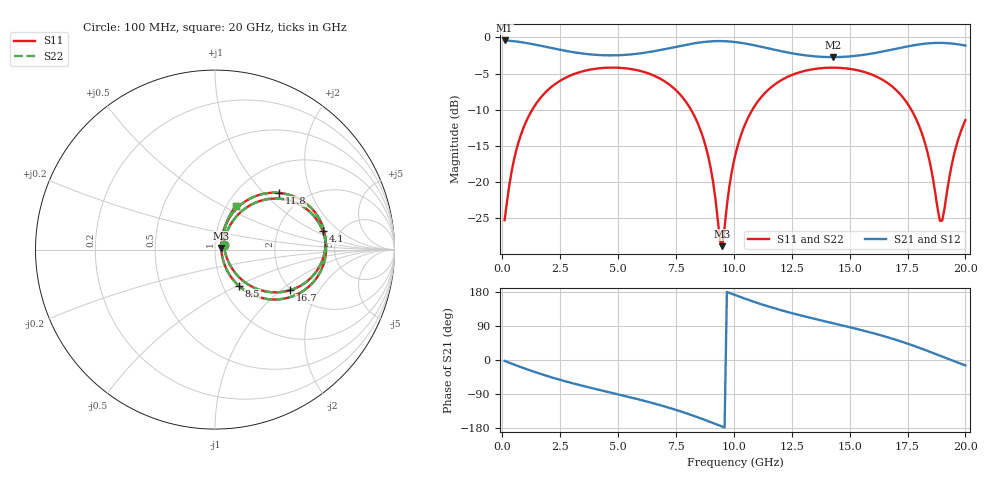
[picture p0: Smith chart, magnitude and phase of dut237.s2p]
! Touchstone file exported from HFSS 2026.1.0
!  File:  C:/ffzhzh/LocalFiles/Ansys_Project_Files/temp_train_TSV_RDL_237_1783065688_36532.aedt
!  Generated:  04:17:35 PM Jul  3, 2026
!  Design:  TSV_RDL
!  Project:  temp_train_TSV_RDL_237_1783065688_36532
! Variables:
!  h_bsmrdl = 4.32um
!  h_ox = 20um
!  h_rdl = 5um
!  h_sub = 97.15um
!  h_tmrdl = 2.05um
!  h_tsv = 97.15um
!  h_via = 3um
!  l_bsmrdl = 704.92um
!  l_sub = 5804.6um
!  l_tmrdl = 800.92um
!  m_sub = 200um
!  pitch = 55.08um
!  r_tsv = 14.41um
!  s_tmrdl = 10um
!  w_bsmrdl = 13.2um
!  w_sub = 500um
!  w_tmrdl = 15.52um
!  x_tsv_center1 = 808.68um
!  x_tsv_center2 = 1526.8um
!  x_tsv_center3 = 2343.24um
!  x_tsv_center4 = 3061.36um
!  x_tsv_center5 = 3877.8um
!  x_tsv_center6 = 4595.92um
# GHz S MA R 50.000000
! Terminal data exported
! Port[1] = TM_RDL1_1_T1
! Port[2] = TM_RDL5_1_T1
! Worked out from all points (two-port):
!   200 points, 100 MHz to 20 GHz, reference 50 ohm
!   highest |S21| = -0.42 dB at 100 MHz (marker M1); lowest = -2.7 dB at 14.3 GHz (marker M2)
!   |S21| within 3 dB of the highest: start of sweep to end of sweep
!   lowest |S11| = -28.8 dB at 9.5 GHz (marker M3), VSWR 1.08, Z = 53.6 + j1.02 ohm
!   |S11| at or under -10 dB: start of sweep to 1.292 GHz; 8.152 GHz to 10.8 GHz (2.648 GHz wide, 27.9 % of centre); 17.67 GHz to end of sweep
!   |S22| runs from -28.8 to -4.2 dB; largest |S21 - S12| = 3.1e-14
!   S11 on the Smith chart (normalised r, x): 100 MHz: 1.10, +0.06; 4.1 GHz: 3.70, +1.21; 8.5 GHz: 1.19, -0.51; 11.8 GHz: 1.51, +1.23; 16.7 GHz: 1.99, -1.16; 20 GHz: 1.11, +0.58
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0.1  0.05468 27.8  0.9524 -2.4  0.9524 -2.4  0.05468 27.8
! Gamma 0 0 0 0
! Port Impedance 50 0 50 0
0.6  0.1655 58.2  0.9372 -14.2  0.9372 -14.2  0.1655 58.2
1.2  0.2978 52.8  0.905 -27.4  0.905 -27.4  0.2978 52.8
3.5  0.5848 18.0  0.7725 -68.6  0.7725 -68.6  0.5848 18.0
4.1  0.6097 9.7  0.7565 -77.6  0.7565 -77.6  0.6096 9.7
5.5  0.6065 -9.4  0.7614 -98.1  0.7614 -98.1  0.6065 -9.4
6.8  0.5209 -28.6  0.8167 -118.8  0.8167 -118.8  0.5208 -28.6
8.5  0.2424 -56.6  0.9208 -152.5  0.9208 -152.5  0.2424 -56.6
9  0.1252 -59.6  0.9386 -163.9  0.9386 -163.9  0.1251 -59.6
9.5  0.03617 15.2  0.9423 -175.6  0.9423 -175.6  0.03613 15.3
9.8  0.09179 63.2  0.9371 177.3  0.9371 177.3  0.09181 63.3
10.1  0.163 66.7  0.9267 170.4  0.9267 170.4  0.1631 66.7
10.8  0.3164 57.9  0.8875 155.0  0.8875 155.0  0.3164 57.9
11.8  0.4774 41.4  0.8187 135.6  0.8187 135.6  0.4775 41.4
13.4  0.6021 17.9  0.7421 109.9  0.7421 109.9  0.6021 17.9
14.3  0.6178 5.8  0.7308 96.8  0.7308 96.8  0.6178 5.8
16.7  0.4764 -28.3  0.8152 59.0  0.8152 59.0  0.4764 -28.4
18.1  0.2224 -48.4  0.8987 30.1  0.8987 30.1  0.2224 -48.5
18.9  0.05419 -3.9  0.9163 11.4  0.9163 11.4  0.05388 -4.0
19  0.05434 22.1  0.9158 9.0  0.9158 9.0  0.05401 22.1
19.5  0.1529 66.2  0.9037 -2.8  0.9037 -2.8  0.1528 66.3
20  0.2681 64.2  0.8786 -14.1  0.8786 -14.1  0.268 64.2
